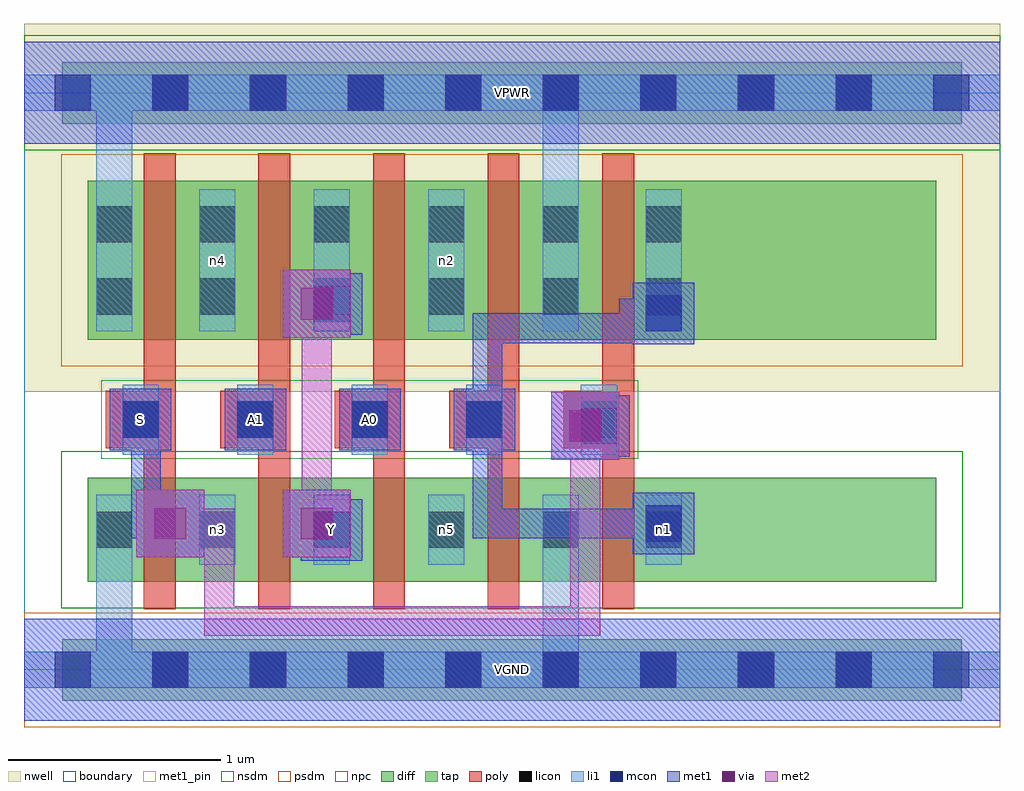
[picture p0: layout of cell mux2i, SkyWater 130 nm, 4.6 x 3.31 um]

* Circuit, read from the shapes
.subckt mux2i A0 A1 S VGND VPWR Y n1 n2 n3 n4 n5
XM1 n3 S VGND VGND sky130_fd_pr__nfet_01v8 w=0.49 l=0.15
XM2 Y A1 n3 VGND sky130_fd_pr__nfet_01v8 w=0.49 l=0.15
XM3 n5 A0 Y VGND sky130_fd_pr__nfet_01v8 w=0.49 l=0.15
XM4 VGND n1 n5 VGND sky130_fd_pr__nfet_01v8 w=0.49 l=0.15
XM5 n1 S VGND VGND sky130_fd_pr__nfet_01v8 w=0.49 l=0.15
XM6 n4 S VPWR VPWR sky130_fd_pr__pfet_01v8 w=0.75 l=0.15
XM7 Y A1 n4 VPWR sky130_fd_pr__pfet_01v8 w=0.75 l=0.15
XM8 n2 A0 Y VPWR sky130_fd_pr__pfet_01v8 w=0.75 l=0.15
XM9 VPWR n1 n2 VPWR sky130_fd_pr__pfet_01v8 w=0.75 l=0.15
XM10 n1 S VPWR VPWR sky130_fd_pr__pfet_01v8 w=0.75 l=0.15
.ends

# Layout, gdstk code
import gdstk
lib = gdstk.Library(unit=1e-6, precision=1e-09)
def R(c, l, rs):  # rectangles x0, y0, x1, y1
    for r in rs: c.add(gdstk.rectangle(r[:2], r[2:], *l))
def A(c, l, x, y, w, h, nx, ny, dx, dy):  # array of equal rectangles
    R(c, l, [(x+i*dx, y+j*dy, x+i*dx+w, y+j*dy+h) for i in range(nx) for j in range(ny)])
nwell = (64, 20)
diff = (65, 20)
tap = (65, 44)
poly = (66, 20)
licon = (66, 44)
li1 = (67, 20)
mcon = (67, 44)
met1_pin = (68, 16)
met1 = (68, 20)
via = (68, 44)
met2 = (69, 20)
nsdm = (93, 44)
psdm = (94, 20)
npc = (95, 20)
boundary = (235, 4)

mux2i = lib.new_cell('mux2i')
R(mux2i, nwell, [(0,1.31,4.6,3.045)])
R(mux2i, diff, [(0.3,0.415,4.3,0.905), (0.3,1.555,4.3,2.305)])
R(mux2i, tap, [(0.18,-0.145,4.42,0.145), (0.18,2.575,4.42,2.865)])
A(mux2i, poly, 0.565, 0.285, 0.15, 2.15, 5, 1, 0.54, 0)
A(mux2i, poly, 0.385, 1.045, 0.33, 0.27, 5, 1, 0.54, 0)
A(mux2i, licon, 0.605, -0.085, 0.17, 0.17, 8, 2, 0.46, 2.72)
A(mux2i, licon, 0.825, 0.575, 0.17, 0.17, 4, 2, 0.54, 1.1)
A(mux2i, licon, 0.465, 1.095, 0.17, 0.17, 5, 1, 0.54, 0)
A(mux2i, licon, 0.825, 2.015, 0.17, 0.17, 4, 1, 0.54, 0)
R(mux2i, licon, [(0.34,0.575,0.51,0.745), (2.93,0.575,3.1,0.745), (0.34,1.675,0.51,1.845), (2.93,1.675,3.1,1.845), (0.34,2.015,0.51,2.185), (2.93,2.015,3.1,2.185)])
A(mux2i, li1, 0.825, 0.495, 0.17, 0.33, 4, 1, 0.54, 0)
A(mux2i, li1, 0.465, 1.015, 0.17, 0.33, 5, 1, 0.54, 0)
A(mux2i, li1, 0.825, 1.595, 0.17, 0.67, 4, 1, 0.54, 0)
R(mux2i, li1, [(0,-0.085,4.6,0.085), (0.34,-0.085,0.51,0.825), (2.445,-0.085,2.615,0.825), (0.34,0.495,0.51,0.825), (2.93,0.495,3.1,0.825), (0.34,1.595,0.51,2.265), (0.34,1.595,0.51,2.805), (2.445,1.595,2.615,2.805), (2.93,1.595,3.1,2.265), (0,2.635,4.6,2.805)])
A(mux2i, mcon, 0.145, -0.085, 0.17, 0.17, 10, 2, 0.46, 2.72)
A(mux2i, mcon, 0.465, 1.095, 0.17, 0.17, 4, 1, 0.54, 0)
R(mux2i, mcon, [(1.365,0.575,1.535,0.745), (2.93,0.605,3.1,0.775), (2.625,1.065,2.795,1.235), (2.93,1.595,3.1,1.765), (1.365,1.64,1.535,1.81)])
A(mux2i, met1_pin, 0.405, 1.035, 0.29, 0.29, 3, 1, 0.54, 0)
R(mux2i, met1_pin, [(0,-0.24,4.6,0.24), (1.305,0.515,1.595,0.805), (0,2.48,4.6,2.96)])
A(mux2i, met1, 0.405, 1.035, 0.29, 0.29, 4, 1, 0.54, 0)
R(mux2i, met1, [(0,-0.24,4.6,0.24), (1.305,0.515,1.595,0.805), (0.53,0.53,0.85,0.85), (1.22,0.53,1.54,0.85), (2.87,0.545,3.16,0.835), (0.505,0.62,0.645,1.22), (0.505,0.62,0.76,0.76), (1.31,0.62,1.45,0.76), (2.115,0.62,2.255,1.22), (2.115,0.62,2.945,0.76), (2.805,0.62,3.085,0.76), (2.485,0.99,2.805,1.31), (2.565,1.005,2.855,1.295), (0.505,1.08,0.645,1.22), (2.115,1.08,2.255,1.22), (2.115,1.08,2.255,1.68), (2.575,1.08,2.78,1.22), (2.87,1.535,3.16,1.825), (2.115,1.54,2.945,1.68), (2.805,1.54,2.945,1.75), (1.22,1.565,1.54,1.885), (1.305,1.58,1.595,1.87), (2.805,1.61,3.085,1.75), (1.31,1.655,1.52,1.795), (0,2.48,4.6,2.96)])
R(mux2i, via, [(0.615,0.615,0.765,0.765), (1.305,0.615,1.455,0.765), (2.57,1.075,2.72,1.225), (1.305,1.65,1.455,1.8)])
R(mux2i, met2, [(0.85,0.16,0.99,0.76), (0.85,0.16,2.715,0.3), (2.575,0.16,2.715,1.22), (0.53,0.53,0.85,0.85), (1.22,0.53,1.54,0.85), (0.62,0.62,0.99,0.76), (1.31,0.62,1.45,1.795), (2.485,0.99,2.805,1.31), (1.22,1.565,1.54,1.885)])
R(mux2i, nsdm, [(0.175,0.29,4.425,1.03), (0,2.45,4.6,2.99)])
R(mux2i, psdm, [(0,-0.27,4.6,0.27), (0.175,1.43,4.425,2.43)])
R(mux2i, npc, [(0.365,0.995,2.895,1.365)])
R(mux2i, boundary, [(0,0,4.6,2.72)])
mux2i.add(gdstk.Label('n3', (0.91,0.66), layer=67, texttype=5))
mux2i.add(gdstk.Label('n5', (1.99,0.66), layer=67, texttype=5))
mux2i.add(gdstk.Label('n1', (3.015,0.66), layer=67, texttype=5))
mux2i.add(gdstk.Label('n4', (0.91,1.93), layer=67, texttype=5))
mux2i.add(gdstk.Label('n2', (1.99,1.93), layer=67, texttype=5))
mux2i.add(gdstk.Label('S', (0.55,1.18), layer=68, texttype=5))
mux2i.add(gdstk.Label('A1', (1.09,1.18), layer=68, texttype=5))
mux2i.add(gdstk.Label('A0', (1.63,1.18), layer=68, texttype=5))
mux2i.add(gdstk.Label('Y', (1.45,0.66), layer=68, texttype=5))
mux2i.add(gdstk.Label('VPWR', (2.3,2.72), layer=68, texttype=5))
mux2i.add(gdstk.Label('VGND', (2.3,0), layer=68, texttype=5))
mux2i.add(gdstk.Label('S', (0.55,1.18), layer=68, texttype=16))
mux2i.add(gdstk.Label('A1', (1.09,1.18), layer=68, texttype=16))
mux2i.add(gdstk.Label('A0', (1.63,1.18), layer=68, texttype=16))
mux2i.add(gdstk.Label('Y', (1.45,0.66), layer=68, texttype=16))
mux2i.add(gdstk.Label('VPWR', (2.3,2.72), layer=68, texttype=16))
mux2i.add(gdstk.Label('VGND', (2.3,0), layer=68, texttype=16))

lib.write_gds('mux2i.gds')
